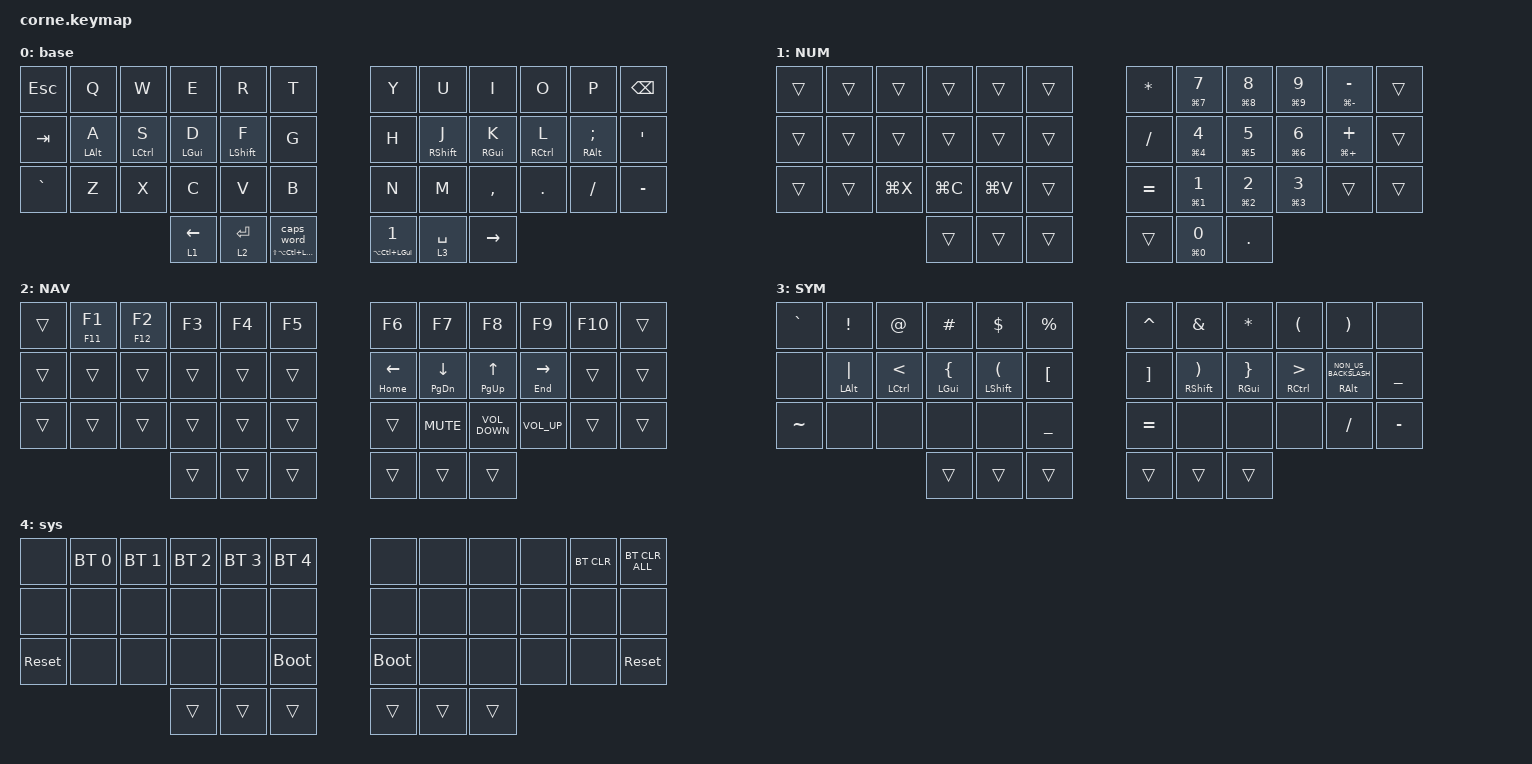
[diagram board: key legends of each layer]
/*
 * Copyright (c) 2020 The ZMK Contributors
 *
 * SPDX-License-Identifier: MIT
 */

#include <behaviors/num_word.dtsi> // Requires zmk-auto-layer module.
#include <behaviors.dtsi>
#include <dt-bindings/zmk/bt.h>
#include <dt-bindings/zmk/keys.h>

// Extend num_word continue-list with underscore, not needed ATM
// because the num layer contains _ already.
// &num_word {
//     continue-list = <BACKSPACE DELETE DOT COMMA PLUS MINUS STAR FSLH EQUAL UNDERSCORE>;
// };

&mt {
    require-prior-idle-ms = <150>;
    flavor = "balanced";
    quick-tap-ms = <175>;
};

/ {
    behaviors {
        lhm: lhm {
            compatible = "zmk,behavior-hold-tap";
            label = "LHM";
            bindings = <&kp>, <&kp>;

            #binding-cells = <2>;
            flavor = "balanced";
            quick-tap-ms = <175>;
            tapping-term-ms = <200>;
            require-prior-idle-ms = <150>;
            hold-trigger-key-positions = <6 7 9 10 11 18 19 20 21 22 23 30 31 32 33 34 35 38 39 40 41 37 36 8>;
            hold-trigger-on-release;
        };

        rhm: rhm {
            compatible = "zmk,behavior-hold-tap";
            label = "RHM";
            bindings = <&kp>, <&kp>;

            #binding-cells = <2>;
            flavor = "balanced";
            quick-tap-ms = <175>;
            tapping-term-ms = <200>;
            require-prior-idle-ms = <150>;
            hold-trigger-key-positions = <0 1 2 3 4 5 12 13 14 15 16 17 24 25 26 27 28 29 36 37 38 39 40 41>;
            hold-trigger-on-release;
        };

        kp_hold_caps_word: kp_hold_caps_word {
            compatible = "zmk,behavior-hold-tap";
            label = "KP_HOLD_CAPS_WORD";
            bindings = <&kp>, <&caps_word>;

            #binding-cells = <2>;
            tapping-term-ms = <250>;
            quick-tap-ms = <175>;
            require-prior-idle-ms = <150>;
            flavor = "balanced";
        };

        kp_hold_num_word: kp_hold_num_word {
            compatible = "zmk,behavior-hold-tap";
            label = "KP_HOLD_NUM_WORD";
            bindings = <&kp>, <&num_word>;

            #binding-cells = <2>;
            tapping-term-ms = <250>;
            quick-tap-ms = <175>;
            require-prior-idle-ms = <150>;
            flavor = "balanced";
        };
    };

    combos {
        compatible = "zmk,combos";

        cmb_inner_thumbs {
            bindings = <&mo 4>;
            key-positions = <38 39>;
        };
    };

    keymap {
        compatible = "zmk,keymap";

        base {
            // -----------------------------------------------------------------------------------------
            // |  TAB |  Q  |  W  |  E  |  R  |  T  |   |  Y  |  U   |  I  |  O  |  P  | BKSP |
            // | CTRL |  A  |  S  |  D  |  F  |  G  |   |  H  |  J   |  K  |  L  |  ;  |  '   |
            // | SHFT |  Z  |  X  |  C  |  V  |  B  |   |  N  |  M   |  ,  |  .  |  /  | ESC  |
            //                    | GUI | LWR | SPC |   | ENT | RSE  | ALT |

            display-name = "base";
            bindings = <
&kp ESCAPE  &kp Q        &kp W         &kp E             &kp R         &kp T                                    &kp Y                             &kp U               &kp I            &kp O         &kp P           &kp BSPC
&kp TAB     &lhm LALT A  &lhm LCTRL S  &lhm LGUI D       &lhm LSHFT F  &kp G                                    &kp H                             &rhm RIGHT_SHIFT J  &rhm RGUI K      &rhm RCTRL L  &rhm RALT SEMI  &kp SQT
&kp GRAVE   &kp Z        &kp X         &kp C             &kp V         &kp B                                    &kp N                             &kp M               &kp COMMA        &kp DOT       &kp FSLH        &kp MINUS
                                       &lt 1 LEFT_ARROW  &lt 2 RET     &kp_hold_caps_word LS(LA(LC(LGUI))) 0    &kp_hold_num_word LA(LC(LGUI)) 1  &lt 3 SPACE         &kp RIGHT_ARROW
            >;
        };

        Numpad {
            bindings = <
&trans  &trans  &trans     &trans     &trans     &trans    &kp ASTERISK  &mt LG(N7) N7  &mt LG(N8) N8  &mt LG(N9) N9  &mt LG(MINUS) MINUS  &trans
&trans  &trans  &trans     &trans     &trans     &trans    &kp SLASH     &mt LG(N4) N4  &mt LG(N5) N5  &mt LG(N6) N6  &mt LG(PLUS) PLUS    &trans
&trans  &trans  &kp LG(X)  &kp LG(C)  &kp LG(V)  &trans    &kp EQUAL     &mt LG(N1) N1  &mt LG(N2) N2  &mt LG(N3) N3  &trans               &trans
                           &trans     &trans     &trans    &trans        &mt LG(N0) N0  &kp DOT
            >;

            label = "NUM";
        };

        Navigation {
            // -----------------------------------------------------------------------------------------
            // |  TAB |  1  |  2  |  3  |  4  |  5  |   |  6  |  7  |  8  |  9  |  0  | BKSP |
            // | BTCLR| BT1 | BT2 | BT3 | BT4 | BT5 |   | LFT | DWN |  UP | RGT |     |      |
            // | SHFT |     |     |     |     |     |   |     |     |     |     |     |      |
            //                    | GUI |     | SPC |   | ENT |     | ALT |

            display-name = "NAV";
            bindings = <
&trans  &mt F11 F1  &mt F12 F2  &kp F3  &kp F4  &kp F5    &kp F6          &kp F7               &kp F8                 &kp F9           &kp F10  &trans
&trans  &trans      &trans      &trans  &trans  &trans    &rhm HOME LEFT  &rhm PAGE_DOWN DOWN  &rhm PAGE_UP UP_ARROW  &rhm END RIGHT   &trans   &trans
&trans  &trans      &trans      &trans  &trans  &trans    &trans          &kp K_MUTE           &kp C_VOLUME_DOWN      &kp C_VOLUME_UP  &trans   &trans
                                &trans  &trans  &trans    &trans          &trans               &trans
            >;

            label = "NAV";
        };

        Symbol {
            bindings = <
&kp GRAVE  &kp EXCLAMATION  &kp AT_SIGN           &kp POUND             &kp DOLLAR                        &kp PERCENT         &kp CARET          &kp AMPERSAND                       &kp ASTERISK           &kp LEFT_PARENTHESIS     &kp RIGHT_PARENTHESIS       &none
&none      &lhm LALT PIPE   &lhm LCTRL LESS_THAN  &lhm LGUI LEFT_BRACE  &lhm LEFT_SHIFT LEFT_PARENTHESIS  &kp LEFT_BRACKET    &kp RIGHT_BRACKET  &rhm RIGHT_SHIFT RIGHT_PARENTHESIS  &rhm RGUI RIGHT_BRACE  &rhm RCTRL GREATER_THAN  &rhm RALT NON_US_BACKSLASH  &kp UNDERSCORE
&kp TILDE  &none            &none                 &none                 &none                             &kp UNDERSCORE      &kp EQUAL          &none                               &none                  &none                    &kp SLASH                   &kp MINUS
                                                  &trans                &trans                            &trans              &trans             &trans                              &trans
            >;

            label = "SYM";
        };

        System {
            // -----------------------------------------------------------------------------------------
            // |  TAB |  !  |  @  |  #  |  $  |  %  |   |  ^  |  &  |  *  |  (  |  )  | BKSP |
            // | CTRL |     |     |     |     |     |   |  -  |  =  |  [  |  ]  |  \  |  `   |
            // | SHFT |     |     |     |     |     |   |  _  |  +  |  {  |  }  | "|" |  ~   |
            //                    | GUI |     | SPC |   | ENT |     | ALT |

            display-name = "sys";
            bindings = <
&none       &bt BT_SEL 0  &bt BT_SEL 1  &bt BT_SEL 2  &bt BT_SEL 3  &bt BT_SEL 4    &none        &none   &none   &none  &bt BT_CLR  &bt BT_CLR_ALL
&none       &none         &none         &none         &none         &none           &none        &none   &none   &none  &none       &none
&sys_reset  &none         &none         &none         &none         &bootloader     &bootloader  &none   &none   &none  &none       &sys_reset
                                        &trans        &trans        &trans          &trans       &trans  &trans
            >;

            label = "SYS";
        };
    };
};
